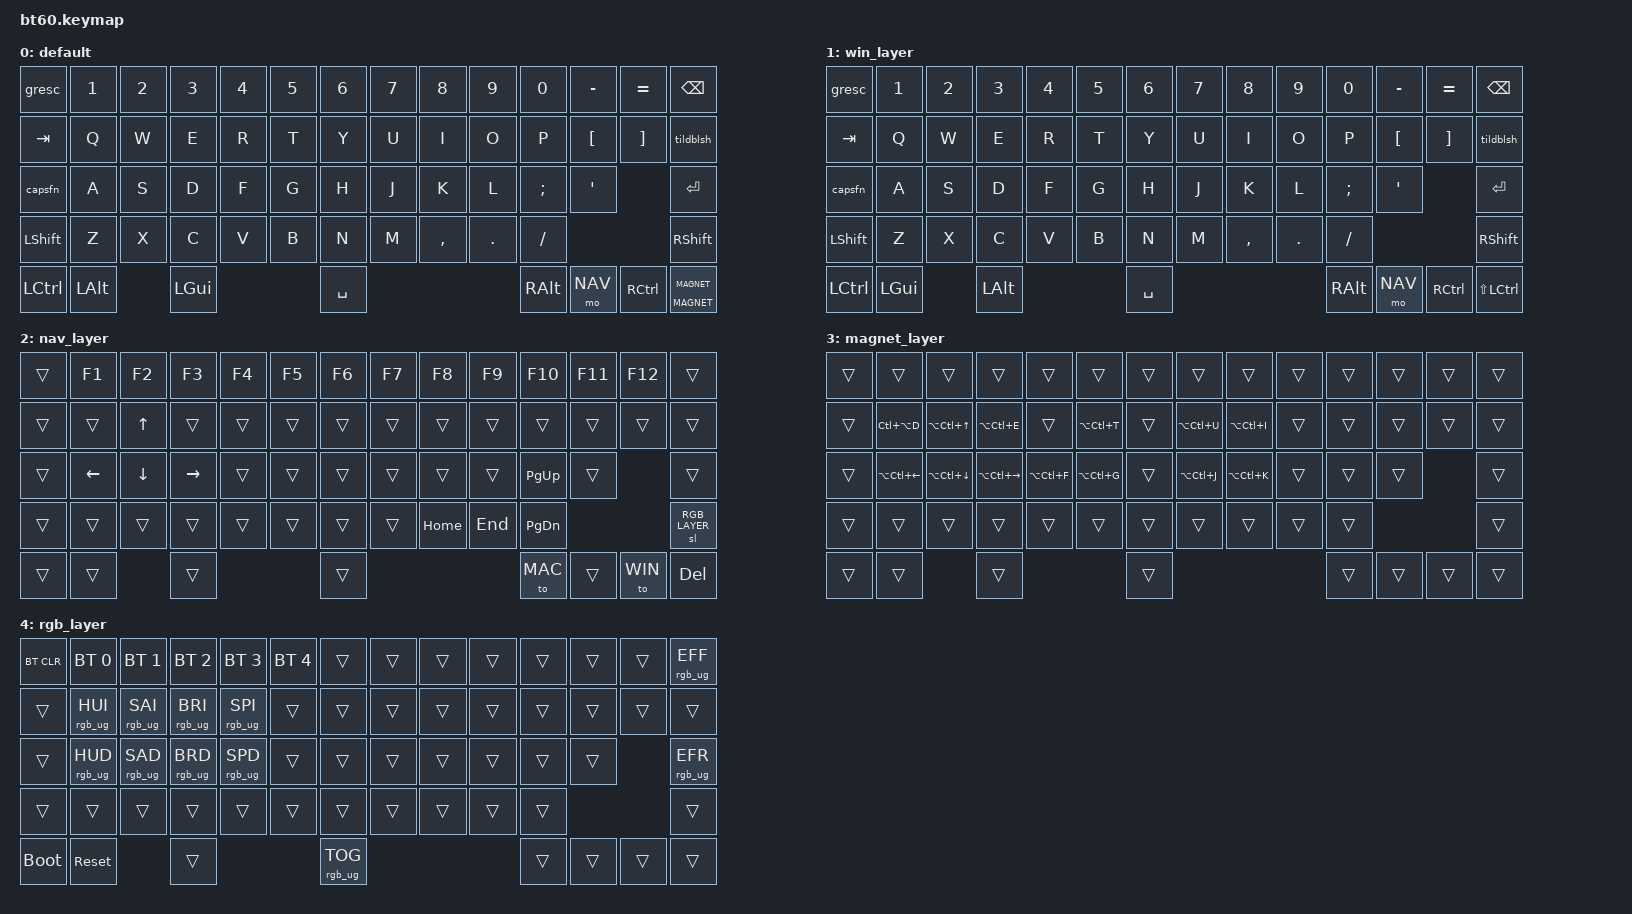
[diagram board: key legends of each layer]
/*
 * Copyright (c) 2021 Nick Winans
 *
 * SPDX-License-Identifier: MIT
 */

#include <dt-bindings/zmk/reset.h>
#include <behaviors.dtsi>
#include <dt-bindings/zmk/keys.h>
#include <dt-bindings/zmk/bt.h>
#include <dt-bindings/zmk/rgb.h>
#include <dt-bindings/zmk/backlight.h>


#define MAC 0
#define WIN 1
#define NAV 2
#define MAGNET 3
#define RGB_LAYER 4

/ {
    behaviors {
        tildblsh: tilde_backslash {
            compatible = "zmk,behavior-mod-morph";
            #binding-cells = <0>;
            bindings = <&kp BSLH>, <&kp TILDE>;

            mods = <(MOD_RGUI|MOD_LGUI|MOD_LALT)>;
        };

        capsfn: caps_function {
            compatible = "zmk,behavior-mod-morph";
            #binding-cells = <0>;
            bindings = <&mo NAV>, <&caps_lck>;

            mods = <(MOD_LGUI|MOD_RGUI|MOD_LALT)>;
        };

        as: auto_shift {
            compatible = "zmk,behavior-hold-tap";
            #binding-cells = <2>;
            tapping-term-ms = <150>;
            quick-tap-ms = <0>;
            flavor = "tap-preferred";
            bindings = <&kp>, <&kp>;
        };

        smo: sticky_momentary_layer {
            compatible = "zmk,behavior-hold-tap";
            #binding-cells = <2>;
            tapping-term-ms = <200>;
            quick-tap-ms = <0>;
            flavor = "tap-preferred";
            bindings = <&mo>, <&sl>;
        };

        mokp: momentary_tap_keypress {
            compatible = "zmk,behavior-hold-tap";
            #binding-cells = <2>;
            tapping-term-ms = <200>;
            quick-tap-ms = <0>;
            bindings = <&mo>, <&kp>;
        };

        moclck: momentary_tap_clck {
            compatible = "zmk,behavior-hold-tap";
            #binding-cells = <2>;
            tapping-term-ms = <200>;
            quick-tap-ms = <0>;
            bindings = <&mo>, <&caps_lck>;
        };

        swe_as: swe_auto_shift {
            compatible = "zmk,behavior-hold-tap";
            #binding-cells = <2>;
            tapping-term-ms = <150>;
            quick-tap-ms = <0>;
            flavor = "tap-preferred";
            bindings = <&swe_mac_char>, <&swe_mac_char>;
        };
    };

    macros {
        swe_mac_char: swe_mac_char {
            compatible = "zmk,behavior-macro-one-param";
            #binding-cells = <1>;
            bindings =
                <&macro_press>,
                <&kp LALT &kp U>,
                <&macro_release>,
                <&kp LALT &macro_param_1to1>,
                <&macro_tap>,
                <&kp MACRO_PLACEHOLDER>,
                <&macro_release>,
                <&kp U>;

            label = "SWECHAR_MAC";
        };

        caps_lck: caps_lck {
            compatible = "zmk,behavior-macro";
            #binding-cells = <0>;
            bindings = <&macro_tap_time 150>, <&kp CLCK>;

            label = "CAPS_LCK";
        };
    };

    combos {
        compatible = "zmk,combos";

        tgl_caps_w {
            bindings = <&caps_word>;
            key-positions = <41 52>;
            layers = <MAC WIN>;
        };
    };

    keymap {
        compatible = "zmk,keymap";

        default {
            bindings = <
&gresc     &kp N1    &kp N2  &kp N3    &kp N4  &kp N5  &kp N6     &kp N7  &kp N8     &kp N9   &kp N0    &kp MINUS  &kp EQUAL  &kp BSPC
&kp TAB    &kp Q     &kp W   &kp E     &kp R   &kp T   &kp Y      &kp U   &kp I      &kp O    &kp P     &kp LBKT   &kp RBKT   &tildblsh
&capsfn    &kp A     &kp S   &kp D     &kp F   &kp G   &kp H      &kp J   &kp K      &kp L    &kp SEMI  &kp SQT               &kp RET
&kp LSHFT  &kp Z     &kp X   &kp C     &kp V   &kp B   &kp N      &kp M   &kp COMMA  &kp DOT  &kp FSLH                        &kp RSHFT
&kp LCTRL  &kp LALT          &kp LGUI                  &kp SPACE                              &kp RALT  &mo NAV    &kp RCTRL  &smo MAGNET MAGNET
            >;
        };

        win_layer {
            bindings = <
&gresc     &kp N1    &kp N2  &kp N3    &kp N4  &kp N5  &kp N6     &kp N7  &kp N8     &kp N9   &kp N0    &kp MINUS  &kp EQUAL  &kp BSPC
&kp TAB    &kp Q     &kp W   &kp E     &kp R   &kp T   &kp Y      &kp U   &kp I      &kp O    &kp P     &kp LBKT   &kp RBKT   &tildblsh
&capsfn    &kp A     &kp S   &kp D     &kp F   &kp G   &kp H      &kp J   &kp K      &kp L    &kp SEMI  &kp SQT               &kp RET
&kp LSHFT  &kp Z     &kp X   &kp C     &kp V   &kp B   &kp N      &kp M   &kp COMMA  &kp DOT  &kp FSLH                        &kp RSHFT
&kp LCTRL  &kp LGUI          &kp LALT                  &kp SPACE                              &kp RALT  &mo NAV    &kp RCTRL  &kp LS(LCTRL)
            >;
        };

        nav_layer {
            // ------------------------------------------------------------------------------------------------
            // | BT CLR | F1  | F2  | F3  | F4  | F5  | F6  | F7  | F8  | F9  | F10  | F11 | F12 | EFFECT REV |
            // |  BT 1   |   |  UP |   | HUEUP | SATUP | BRIUP | SPDUP |   |     |    |     |     |           |
            // |   BT 2   | LT |  DN  | RT | HUEDN | SATDN | BRIDN | SPDDN |   |     |   |     |  EFFECT FORW |
            // |    BT 3     |     |      |      |     |     |     |     |     |     |     |                  |
            // |   BT 4  |      |      |             TOG RGB                | PRT SCR |       |       |  DEL  |
            // ------------------------------------------------------------------------------------------------

            bindings = <
&trans  &kp F1    &kp F2    &kp F3     &kp F4  &kp F5  &kp F6  &kp F7  &kp F8    &kp F9   &kp F10        &kp F11  &kp F12  &trans
&trans  &trans    &kp UP    &trans     &trans  &trans  &trans  &trans  &trans    &trans   &trans         &trans   &trans   &trans
&trans  &kp LEFT  &kp DOWN  &kp RIGHT  &trans  &trans  &trans  &trans  &trans    &trans   &kp PAGE_UP    &trans            &trans
&trans  &trans    &trans    &trans     &trans  &trans  &trans  &trans  &kp HOME  &kp END  &kp PAGE_DOWN                    &sl RGB_LAYER
&trans  &trans              &trans                     &trans                             &to MAC        &trans   &to WIN  &kp DEL
            >;
        };

        magnet_layer {
            bindings = <
&trans  &trans                  &trans                &trans                   &trans         &trans         &trans  &trans         &trans         &trans  &trans  &trans  &trans  &trans
&trans  &kp LC(LA(D))           &kp LA(LC(UP_ARROW))  &kp LA(LC(E))            &trans         &kp LA(LC(T))  &trans  &kp LA(LC(U))  &kp LA(LC(I))  &trans  &trans  &trans  &trans  &trans
&trans  &kp LA(LC(LEFT_ARROW))  &kp LA(LC(DOWN))      &kp LA(LC(RIGHT_ARROW))  &kp LA(LC(F))  &kp LA(LC(G))  &trans  &kp LA(LC(J))  &kp LA(LC(K))  &trans  &trans  &trans          &trans
&trans  &trans                  &trans                &trans                   &trans         &trans         &trans  &trans         &trans         &trans  &trans                  &trans
&trans  &trans                                        &trans                                                 &trans                                        &trans  &trans  &trans  &trans
            >;
        };

        rgb_layer {
            bindings = <
&bt BT_CLR   &bt BT_SEL 0     &bt BT_SEL 1     &bt BT_SEL 2     &bt BT_SEL 3     &bt BT_SEL 4  &trans           &trans  &trans  &trans  &trans  &trans  &trans  &rgb_ug RGB_EFF
&trans       &rgb_ug RGB_HUI  &rgb_ug RGB_SAI  &rgb_ug RGB_BRI  &rgb_ug RGB_SPI  &trans        &trans           &trans  &trans  &trans  &trans  &trans  &trans  &trans
&trans       &rgb_ug RGB_HUD  &rgb_ug RGB_SAD  &rgb_ug RGB_BRD  &rgb_ug RGB_SPD  &trans        &trans           &trans  &trans  &trans  &trans  &trans          &rgb_ug RGB_EFR
&trans       &trans           &trans           &trans           &trans           &trans        &trans           &trans  &trans  &trans  &trans                  &trans
&bootloader  &sys_reset                        &trans                                          &rgb_ug RGB_TOG                          &trans  &trans  &trans  &trans
            >;
        };
    };
};
